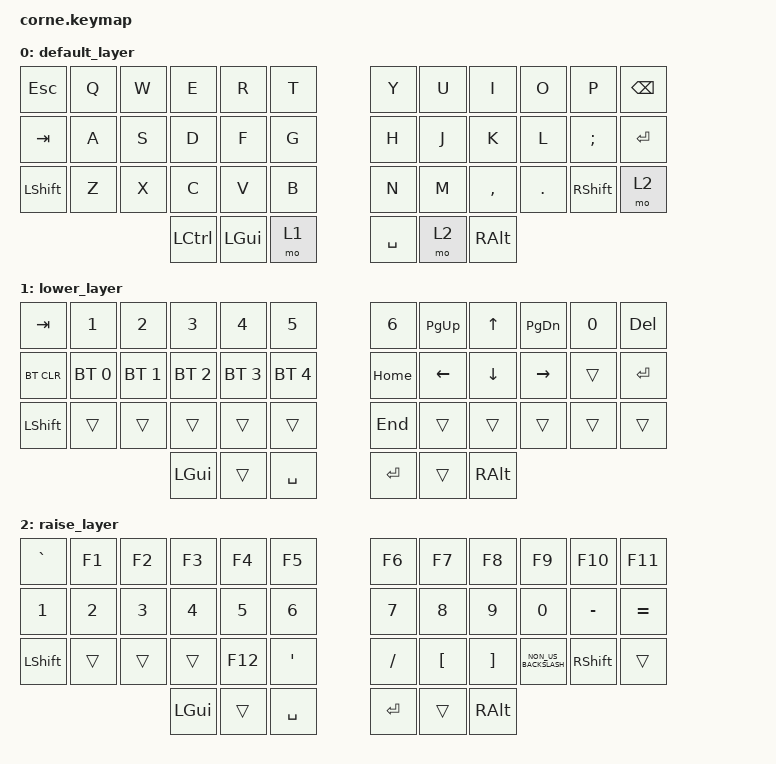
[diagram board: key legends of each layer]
/*
 * Copyright (c) 2020 The ZMK Contributors
 *
 * SPDX-License-Identifier: MIT
 */

#include <behaviors.dtsi>
#include <dt-bindings/zmk/bt.h>
#include <dt-bindings/zmk/keys.h>

/ {
    keymap {
        compatible = "zmk,keymap";

        default_layer {
            // -----------------------------------------------------------------------------------------
            // |  TAB |  Q  |  W  |  E  |  R  |  T  |   |  Y  |  U   |  I  |  O  |  P  | BSPC |
            // | CTRL |  A  |  S  |  D  |  F  |  G  |   |  H  |  J   |  K  |  L  |  ;  |  '   |
            // | SHFT |  Z  |  X  |  C  |  V  |  B  |   |  N  |  M   |  ,  |  .  |  /  | ESC  |
            //                    | GUI | LWR | SPC |   | ENT | RSE  | ALT |

            bindings = <
&kp ESC    &kp Q  &kp W  &kp E             &kp R         &kp T    &kp Y      &kp U  &kp I      &kp O    &kp P            &kp BSPC
&kp TAB    &kp A  &kp S  &kp D             &kp F         &kp G    &kp H      &kp J  &kp K      &kp L    &kp SEMI         &kp ENTER
&kp LSHFT  &kp Z  &kp X  &kp C             &kp V         &kp B    &kp N      &kp M  &kp COMMA  &kp DOT  &kp RIGHT_SHIFT  &mo 2
                         &kp LEFT_CONTROL  &kp LEFT_GUI  &mo 1    &kp SPACE  &mo 2  &kp RALT
            >;
        };

        lower_layer {
            // -----------------------------------------------------------------------------------------
            // |  TAB |  1  |  2  |  3  |  4  |  5  |   |  6  |  7  |  8  |  9  |  0  | BSPC |
            // | BTCLR| BT1 | BT2 | BT3 | BT4 | BT5 |   | LFT | DWN |  UP | RGT |     |      |
            // | SHFT |     |     |     |     |     |   |     |     |     |     |     |      |
            //                    | GUI |     | SPC |   | ENT |     | ALT |

            bindings = <
&kp TAB     &kp N1        &kp N2        &kp N3        &kp N4        &kp N5          &kp N6    &kp PAGE_UP  &kp UP_ARROW  &kp PAGE_DOWN  &kp N0  &kp DEL
&bt BT_CLR  &bt BT_SEL 0  &bt BT_SEL 1  &bt BT_SEL 2  &bt BT_SEL 3  &bt BT_SEL 4    &kp HOME  &kp LEFT     &kp DOWN      &kp RIGHT      &trans  &kp ENTER
&kp LSHFT   &trans        &trans        &trans        &trans        &trans          &kp END   &trans       &trans        &trans         &trans  &trans
                                        &kp LGUI      &trans        &kp SPACE       &kp RET   &trans       &kp RALT
            >;
        };

        raise_layer {
            // -----------------------------------------------------------------------------------------
            // |  TAB |  !  |  @  |  #  |  $  |  %  |   |  ^  |  &  |  *  |  (  |  )  | BSPC |
            // | CTRL |     |     |     |     |     |   |  -  |  =  |  [  |  ]  |  \  |  `   |
            // | SHFT |     |     |     |     |     |   |  _  |  +  |  {  |  }  | "|" |  ~   |
            //                    | GUI |     | SPC |   | ENT |     | ALT |

            bindings = <
&kp GRAVE     &kp F1        &kp F2        &kp F3        &kp F4   &kp F5          &kp F6     &kp F7            &kp F8             &kp F9                &kp F10          &kp F11
&kp NUMBER_1  &kp NUMBER_2  &kp NUMBER_3  &kp NUMBER_4  &kp N5   &kp NUMBER_6    &kp N7     &kp N8            &kp N9             &kp N0                &kp MINUS        &kp EQUAL
&kp LSHFT     &trans        &trans        &trans        &kp F12  &kp APOS        &kp SLASH  &kp LEFT_BRACKET  &kp RIGHT_BRACKET  &kp NON_US_BACKSLASH  &kp RIGHT_SHIFT  &trans
                                          &kp LGUI      &trans   &kp SPACE       &kp RET    &trans            &kp RALT
            >;
        };
    };
};
